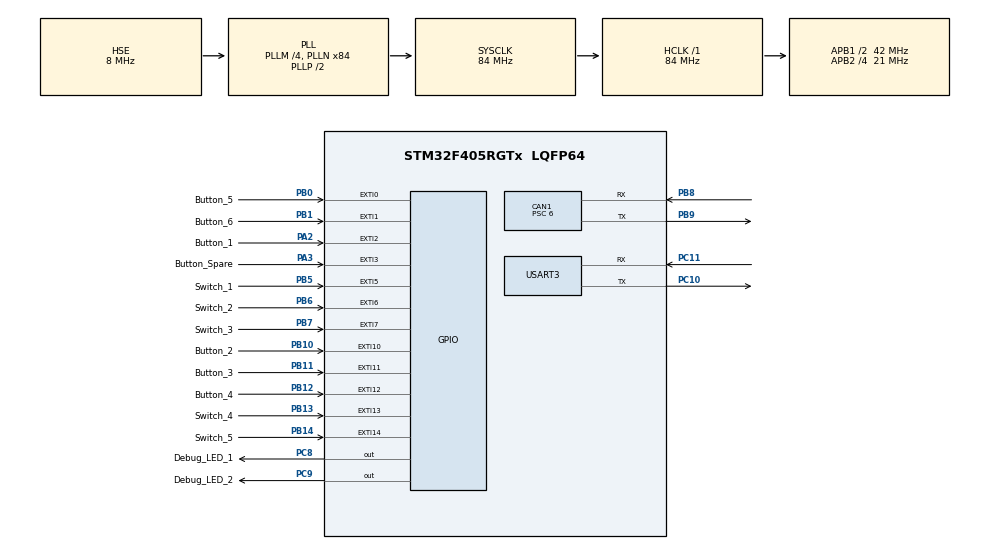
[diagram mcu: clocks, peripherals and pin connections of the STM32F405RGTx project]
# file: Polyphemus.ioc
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CAN1.BS1=CAN_BS1_11TQ
CAN1.BS2=CAN_BS2_2TQ
CAN1.CalculateBaudRate=500000
CAN1.CalculateTimeBit=2000
CAN1.CalculateTimeQuantum=142.85714285714286
CAN1.Prescaler=6
Mcu.Family=STM32F4
Mcu.Name=STM32F405RGTx
Mcu.Package=LQFP64
NVIC.EXTI0_IRQn=true\:0\:0\:false\:false\:true\:true\:true\:true
NVIC.EXTI15_10_IRQn=true\:0\:0\:false\:false\:true\:true\:true\:true
NVIC.EXTI1_IRQn=true\:0\:0\:false\:false\:true\:true\:true\:true
NVIC.EXTI2_IRQn=true\:0\:0\:false\:false\:true\:true\:true\:true
NVIC.EXTI3_IRQn=true\:0\:0\:false\:false\:true\:true\:true\:true
NVIC.EXTI9_5_IRQn=true\:0\:0\:false\:false\:true\:true\:true\:true
NVIC.PriorityGroup=NVIC_PRIORITYGROUP_4
PA13.Mode=JTAG_4_pins
PA13.Signal=SYS_JTMS-SWDIO
PA14.Mode=JTAG_4_pins
PA14.Signal=SYS_JTCK-SWCLK
PA15.Mode=JTAG_4_pins
PA15.Signal=SYS_JTDI
PA2.GPIO_Label=Button_1
PA2.Signal=GPXTI2
PA3.GPIO_Label=Button_Spare
PA3.Signal=GPXTI3
PB0.GPIO_Label=Button_5
PB0.Signal=GPXTI0
PB1.GPIO_Label=Button_6
PB1.Signal=GPXTI1
PB10.GPIO_Label=Button_2
PB10.Signal=GPXTI10
PB11.GPIO_Label=Button_3
PB11.Signal=GPXTI11
PB12.GPIO_Label=Button_4
PB12.Signal=GPXTI12
PB13.GPIO_Label=Switch_4
PB13.Signal=GPXTI13
PB14.GPIO_Label=Switch_5
PB14.Signal=GPXTI14
PB3.Mode=JTAG_4_pins
PB3.Signal=SYS_JTDO-SWO
PB5.GPIO_Label=Switch_1
PB5.Signal=GPXTI5
PB6.GPIO_Label=Switch_2
PB6.Signal=GPXTI6
PB7.GPIO_Label=Switch_3
PB7.Signal=GPXTI7
PB8.Mode=CAN_Activate
PB8.Signal=CAN1_RX
PB9.Mode=CAN_Activate
PB9.Signal=CAN1_TX
PC10.Mode=Asynchronous
PC10.Signal=USART3_TX
PC11.Mode=Asynchronous
PC11.Signal=USART3_RX
PC8.GPIO_Label=Debug_LED_1
PC8.Signal=GPIO_Output
PC9.GPIO_Label=Debug_LED_2
PC9.Signal=GPIO_Output
PH0-OSC_IN.Mode=HSE-External-Clock-Source
PH0-OSC_IN.Signal=RCC_OSC_IN
PH1-OSC_OUT.Mode=HSE-External-Clock-Source
PH1-OSC_OUT.Signal=RCC_OSC_OUT
ProjectManager.HeapSize=0x200
ProjectManager.StackSize=0x400
ProjectManager.TargetToolchain=Makefile
RCC.48MHZClocksFreq_Value=42000000
RCC.AHBFreq_Value=84000000
RCC.APB1CLKDivider=RCC_HCLK_DIV2
RCC.APB1Freq_Value=42000000
RCC.APB1TimFreq_Value=84000000
RCC.APB2CLKDivider=RCC_HCLK_DIV4
RCC.APB2Freq_Value=21000000
RCC.APB2TimFreq_Value=42000000
RCC.CortexFreq_Value=84000000
RCC.HCLKFreq_Value=84000000
RCC.HSE_VALUE=8000000
RCC.HSI_VALUE=16000000
RCC.LSE_VALUE=32768
RCC.PLLM=4
RCC.PLLN=84
RCC.PLLSourceVirtual=RCC_PLLSOURCE_HSE
RCC.SYSCLKFreq_VALUE=84000000
RCC.SYSCLKSource=RCC_SYSCLKSOURCE_PLLCLK
RCC.VCOOutputFreq_Value=168000000
USART3.VirtualMode=VM_ASYNC
board=custom

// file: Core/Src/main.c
/* USER CODE BEGIN Header */
/**
  ******************************************************************************
  * @file           : main.c
  * @brief          : Main program body
  ******************************************************************************
  * @attention
  *
  * Copyright (c) 2025 STMicroelectronics.
  * All rights reserved.
  *
  * This software is licensed under terms that can be found in the LICENSE file
  * in the root directory of this software component.
  * If no LICENSE file comes with this software, it is provided AS-IS.
  *
  ******************************************************************************
  */
/* USER CODE END Header */
#include "main.h"

/* USER CODE BEGIN Includes */
#include "can.h"
#include <stdlib.h>
#include <string.h>
#include "buttons.c"
#include "dial.c"
/* USER CODE END Includes */

/* USER CODE BEGIN PD */
volatile uint8_t flag;
volatile uint16_t gpio_pin;
/* USER CODE END PD */

CAN_HandleTypeDef hcan1;

UART_HandleTypeDef huart3;

/* USER CODE BEGIN PV */
can_t *can;
/* USER CODE END PV */

void SystemClock_Config(void);
static void MX_GPIO_Init(void);
static void MX_CAN1_Init(void);
static void MX_USART3_UART_Init(void);
/* USER CODE BEGIN PFP */
void determine_action(uint16_t GPIO_Pin);
/* USER CODE END PFP */

/* USER CODE BEGIN 0 */
#ifdef __GNUC__
#define PUTCHAR_PROTOTYPE int __io_putchar(int ch)
#else
#define PUTCHAR_PROTOTYPE int fputc(int ch, FILE *f)
#endif

PUTCHAR_PROTOTYPE
{
  HAL_UART_Transmit(&huart3, (uint8_t *)&ch, 1, HAL_MAX_DELAY);
  return ch;
}

int _write(int file, char* ptr, int len) {
  int DataIdx;

  for (DataIdx = 0; DataIdx < len; DataIdx++) {
    __io_putchar( *ptr++ );
  }
  return len;
}

void HAL_GPIO_EXTI_Callback(uint16_t GPIO_Pin)
{
  flag = 1;
  gpio_pin = GPIO_Pin;
}
/* USER CODE END 0 */

int main(void)
{

  /* MCU Configuration--------------------------------------------------------*/

  /* Reset of all peripherals, Initializes the Flash interface and the Systick. */
  HAL_Init();

  /* Configure the system clock */
  SystemClock_Config();

  /* Initialize all configured peripherals */
  MX_GPIO_Init();
  MX_CAN1_Init();
  MX_USART3_UART_Init();
  /* USER CODE BEGIN 2 */
  can = malloc(sizeof(can_t));
  can->hcan = &hcan1;
  can_init(can);

  check_dial_status(can); // Check what setting the dial is set to on startup

  /* USER CODE END 2 */

  /* Infinite loop */
  /* USER CODE BEGIN WHILE */
  while (1)
  {
    if(flag) {
      flag = 0;
      determine_action(gpio_pin);
    }

    if(dial_timer()) {
      check_dial_status(can); // Every DIAL_FREQUENCY ms (defined in dial.h), check the dial status and send it over CAN.
    }
    /* USER CODE END WHILE */

  }
}

void SystemClock_Config(void)
{
  RCC_OscInitTypeDef RCC_OscInitStruct = {0};
  RCC_ClkInitTypeDef RCC_ClkInitStruct = {0};

  /** Configure the main internal regulator output voltage
  */
  __HAL_RCC_PWR_CLK_ENABLE();
  __HAL_PWR_VOLTAGESCALING_CONFIG(PWR_REGULATOR_VOLTAGE_SCALE1);

  /** Initializes the RCC Oscillators according to the specified parameters
  * in the RCC_OscInitTypeDef structure.
  */
  RCC_OscInitStruct.OscillatorType = RCC_OSCILLATORTYPE_HSE;
  RCC_OscInitStruct.HSEState = RCC_HSE_BYPASS;
  RCC_OscInitStruct.PLL.PLLState = RCC_PLL_ON;
  RCC_OscInitStruct.PLL.PLLSource = RCC_PLLSOURCE_HSE;
  RCC_OscInitStruct.PLL.PLLM = 4;
  RCC_OscInitStruct.PLL.PLLN = 84;
  RCC_OscInitStruct.PLL.PLLP = RCC_PLLP_DIV2;
  RCC_OscInitStruct.PLL.PLLQ = 4;
  if (HAL_RCC_OscConfig(&RCC_OscInitStruct) != HAL_OK)
  {
    Error_Handler();
  }

  /** Initializes the CPU, AHB and APB buses clocks
  */
  RCC_ClkInitStruct.ClockType = RCC_CLOCKTYPE_HCLK|RCC_CLOCKTYPE_SYSCLK
                              |RCC_CLOCKTYPE_PCLK1|RCC_CLOCKTYPE_PCLK2;
  RCC_ClkInitStruct.SYSCLKSource = RCC_SYSCLKSOURCE_PLLCLK;
  RCC_ClkInitStruct.AHBCLKDivider = RCC_SYSCLK_DIV1;
  RCC_ClkInitStruct.APB1CLKDivider = RCC_HCLK_DIV2;
  RCC_ClkInitStruct.APB2CLKDivider = RCC_HCLK_DIV4;

  if (HAL_RCC_ClockConfig(&RCC_ClkInitStruct, FLASH_LATENCY_2) != HAL_OK)
  {
    Error_Handler();
  }
}

static void MX_CAN1_Init(void)
{

  hcan1.Instance = CAN1;
  hcan1.Init.Prescaler = 6;
  hcan1.Init.Mode = CAN_MODE_NORMAL;
  hcan1.Init.SyncJumpWidth = CAN_SJW_1TQ;
  hcan1.Init.TimeSeg1 = CAN_BS1_11TQ;
  hcan1.Init.TimeSeg2 = CAN_BS2_2TQ;
  hcan1.Init.TimeTriggeredMode = DISABLE;
  hcan1.Init.AutoBusOff = DISABLE;
  hcan1.Init.AutoWakeUp = DISABLE;
  hcan1.Init.AutoRetransmission = DISABLE;
  hcan1.Init.ReceiveFifoLocked = DISABLE;
  hcan1.Init.TransmitFifoPriority = DISABLE;
  if (HAL_CAN_Init(&hcan1) != HAL_OK)
  {
    Error_Handler();
  }

}

static void MX_USART3_UART_Init(void)
{

  huart3.Instance = USART3;
  huart3.Init.BaudRate = 115200;
  huart3.Init.WordLength = UART_WORDLENGTH_8B;
  huart3.Init.StopBits = UART_STOPBITS_1;
  huart3.Init.Parity = UART_PARITY_NONE;
  huart3.Init.Mode = UART_MODE_TX_RX;
  huart3.Init.HwFlowCtl = UART_HWCONTROL_NONE;
  huart3.Init.OverSampling = UART_OVERSAMPLING_16;
  if (HAL_UART_Init(&huart3) != HAL_OK)
  {
    Error_Handler();
  }

}

static void MX_GPIO_Init(void)
{
  GPIO_InitTypeDef GPIO_InitStruct = {0};

  /* GPIO Ports Clock Enable */
  __HAL_RCC_GPIOH_CLK_ENABLE();
  __HAL_RCC_GPIOA_CLK_ENABLE();
  __HAL_RCC_GPIOB_CLK_ENABLE();
  __HAL_RCC_GPIOC_CLK_ENABLE();

  /*Configure GPIO pin Output Level */
  HAL_GPIO_WritePin(GPIOC, Debug_LED_1_Pin|Debug_LED_2_Pin, GPIO_PIN_RESET);

  /*Configure GPIO pins : Button_1_Pin Button_Spare_Pin */
  GPIO_InitStruct.Pin = Button_1_Pin|Button_Spare_Pin;
  GPIO_InitStruct.Mode = GPIO_MODE_IT_FALLING;
  GPIO_InitStruct.Pull = GPIO_NOPULL;
  HAL_GPIO_Init(GPIOA, &GPIO_InitStruct);

  /*Configure GPIO pins : Button_5_Pin Button_4_Pin Button_2_Pin Button_3_Pin
                           Button_6_Pin */
  GPIO_InitStruct.Pin = Button_5_Pin|Button_4_Pin|Button_2_Pin|Button_3_Pin
                          |Button_6_Pin;
  GPIO_InitStruct.Mode = GPIO_MODE_IT_FALLING;
  GPIO_InitStruct.Pull = GPIO_NOPULL;
  HAL_GPIO_Init(GPIOB, &GPIO_InitStruct);

  /*Configure GPIO pins : Switch_4_Pin Switch_5_Pin Switch_1_Pin Switch_2_Pin
                           Switch_3_Pin */
  GPIO_InitStruct.Pin = Switch_4_Pin|Switch_5_Pin|Switch_1_Pin|Switch_2_Pin
                          |Switch_3_Pin;
  GPIO_InitStruct.Mode = GPIO_MODE_IT_RISING;
  GPIO_InitStruct.Pull = GPIO_NOPULL;
  HAL_GPIO_Init(GPIOB, &GPIO_InitStruct);

  /*Configure GPIO pins : Debug_LED_1_Pin Debug_LED_2_Pin */
  GPIO_InitStruct.Pin = Debug_LED_1_Pin|Debug_LED_2_Pin;
  GPIO_InitStruct.Mode = GPIO_MODE_OUTPUT_PP;
  GPIO_InitStruct.Pull = GPIO_NOPULL;
  GPIO_InitStruct.Speed = GPIO_SPEED_FREQ_LOW;
  HAL_GPIO_Init(GPIOC, &GPIO_InitStruct);

  /* EXTI interrupt init*/
  HAL_NVIC_SetPriority(EXTI0_IRQn, 0, 0);
  HAL_NVIC_EnableIRQ(EXTI0_IRQn);

  HAL_NVIC_SetPriority(EXTI1_IRQn, 0, 0);
  HAL_NVIC_EnableIRQ(EXTI1_IRQn);

  HAL_NVIC_SetPriority(EXTI2_IRQn, 0, 0);
  HAL_NVIC_EnableIRQ(EXTI2_IRQn);

  HAL_NVIC_SetPriority(EXTI3_IRQn, 0, 0);
  HAL_NVIC_EnableIRQ(EXTI3_IRQn);

  HAL_NVIC_SetPriority(EXTI9_5_IRQn, 0, 0);
  HAL_NVIC_EnableIRQ(EXTI9_5_IRQn);

  HAL_NVIC_SetPriority(EXTI15_10_IRQn, 0, 0);
  HAL_NVIC_EnableIRQ(EXTI15_10_IRQn);

}

/* USER CODE BEGIN 4 */
void determine_action(uint16_t GPIO_Pin) {
  uint8_t button_id;
  switch (GPIO_Pin) {
		case Button_1_Pin:
			button_id = BUTTON_LEFT;
      button_pressed(Button_1_GPIO_Port, GPIO_Pin, button_id, can);
			break;
		case Button_2_Pin:
			button_id = BUTTON_RIGHT;
      button_pressed(Button_2_GPIO_Port, GPIO_Pin, button_id, can);
			break;
		case Button_3_Pin:
			button_id = BUTTON_ESC;
      button_pressed(Button_3_GPIO_Port, GPIO_Pin, button_id, can);
			break;
		case Button_4_Pin:
      button_id = BUTTON_UP;
			button_pressed(Button_4_GPIO_Port, GPIO_Pin, button_id, can);
			break;
		case Button_5_Pin:
      button_id = BUTTON_DOWN;
			button_pressed(Button_5_GPIO_Port, GPIO_Pin, button_id, can);
			break;
		case Button_6_Pin:
      button_id = BUTTON_ENTER;
			button_pressed(Button_6_GPIO_Port, GPIO_Pin, button_id, can);
			break;
    case Button_Spare_Pin:
      button_id = SPARE_BUTTON;
      button_pressed(Button_Spare_GPIO_Port, GPIO_Pin, button_id, can);
      break;
		default:
			break;
	}
}
/* USER CODE END 4 */

void Error_Handler(void)
{
  __disable_irq();
  while (1)
  {
  }
}
